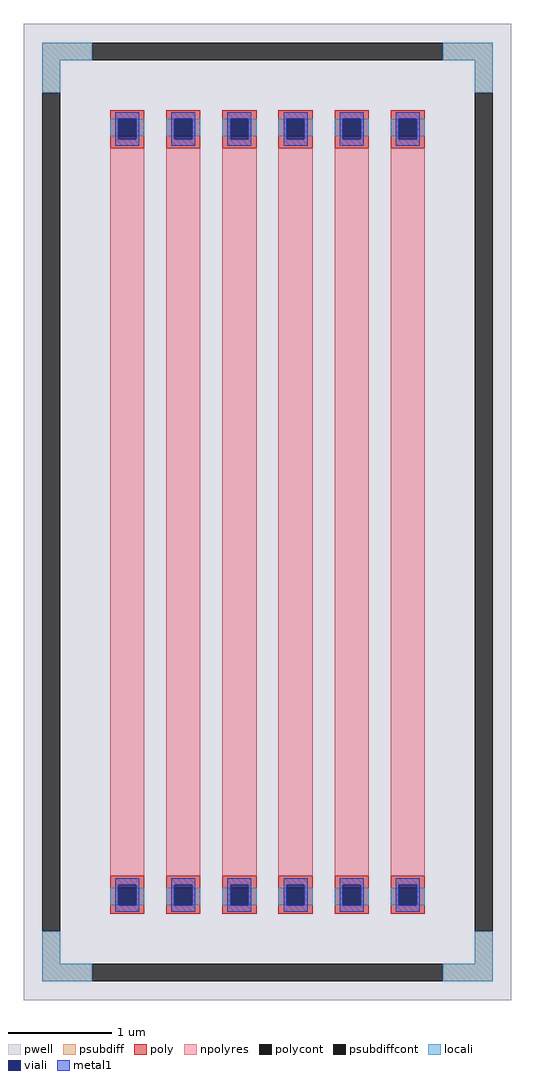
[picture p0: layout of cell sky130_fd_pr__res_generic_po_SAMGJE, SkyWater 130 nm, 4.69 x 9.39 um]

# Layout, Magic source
magic
tech sky130B
magscale 1 2
<< pwell >>
rect -469 -939 469 939
<< psubdiff >>
rect -433 869 -337 903
rect 337 869 433 903
rect -433 807 -399 869
rect 399 807 433 869
rect -433 -869 -399 -807
rect 399 -869 433 -807
rect -433 -903 -337 -869
rect 337 -903 433 -869
<< psubdiffcont >>
rect -337 869 337 903
rect -433 -807 -399 807
rect 399 -807 433 807
rect -337 -903 337 -869
<< poly >>
rect -303 757 -237 773
rect -303 723 -287 757
rect -253 723 -237 757
rect -303 700 -237 723
rect -303 -723 -237 -700
rect -303 -757 -287 -723
rect -253 -757 -237 -723
rect -303 -773 -237 -757
rect -195 757 -129 773
rect -195 723 -179 757
rect -145 723 -129 757
rect -195 700 -129 723
rect -195 -723 -129 -700
rect -195 -757 -179 -723
rect -145 -757 -129 -723
rect -195 -773 -129 -757
rect -87 757 -21 773
rect -87 723 -71 757
rect -37 723 -21 757
rect -87 700 -21 723
rect -87 -723 -21 -700
rect -87 -757 -71 -723
rect -37 -757 -21 -723
rect -87 -773 -21 -757
rect 21 757 87 773
rect 21 723 37 757
rect 71 723 87 757
rect 21 700 87 723
rect 21 -723 87 -700
rect 21 -757 37 -723
rect 71 -757 87 -723
rect 21 -773 87 -757
rect 129 757 195 773
rect 129 723 145 757
rect 179 723 195 757
rect 129 700 195 723
rect 129 -723 195 -700
rect 129 -757 145 -723
rect 179 -757 195 -723
rect 129 -773 195 -757
rect 237 757 303 773
rect 237 723 253 757
rect 287 723 303 757
rect 237 700 303 723
rect 237 -723 303 -700
rect 237 -757 253 -723
rect 287 -757 303 -723
rect 237 -773 303 -757
<< polycont >>
rect -287 723 -253 757
rect -287 -757 -253 -723
rect -179 723 -145 757
rect -179 -757 -145 -723
rect -71 723 -37 757
rect -71 -757 -37 -723
rect 37 723 71 757
rect 37 -757 71 -723
rect 145 723 179 757
rect 145 -757 179 -723
rect 253 723 287 757
rect 253 -757 287 -723
<< npolyres >>
rect -303 -700 -237 700
rect -195 -700 -129 700
rect -87 -700 -21 700
rect 21 -700 87 700
rect 129 -700 195 700
rect 237 -700 303 700
<< locali >>
rect -433 869 -337 903
rect 337 869 433 903
rect -433 807 -399 869
rect 399 807 433 869
rect -303 723 -287 757
rect -253 723 -237 757
rect -195 723 -179 757
rect -145 723 -129 757
rect -87 723 -71 757
rect -37 723 -21 757
rect 21 723 37 757
rect 71 723 87 757
rect 129 723 145 757
rect 179 723 195 757
rect 237 723 253 757
rect 287 723 303 757
rect -303 -757 -287 -723
rect -253 -757 -237 -723
rect -195 -757 -179 -723
rect -145 -757 -129 -723
rect -87 -757 -71 -723
rect -37 -757 -21 -723
rect 21 -757 37 -723
rect 71 -757 87 -723
rect 129 -757 145 -723
rect 179 -757 195 -723
rect 237 -757 253 -723
rect 287 -757 303 -723
rect -433 -869 -399 -807
rect 399 -869 433 -807
rect -433 -903 -337 -869
rect 337 -903 433 -869
<< viali >>
rect -287 723 -253 757
rect -179 723 -145 757
rect -71 723 -37 757
rect 37 723 71 757
rect 145 723 179 757
rect 253 723 287 757
rect -287 717 -253 723
rect -179 717 -145 723
rect -71 717 -37 723
rect 37 717 71 723
rect 145 717 179 723
rect 253 717 287 723
rect -287 -723 -253 -717
rect -179 -723 -145 -717
rect -71 -723 -37 -717
rect 37 -723 71 -717
rect 145 -723 179 -717
rect 253 -723 287 -717
rect -287 -757 -253 -723
rect -179 -757 -145 -723
rect -71 -757 -37 -723
rect 37 -757 71 -723
rect 145 -757 179 -723
rect 253 -757 287 -723
<< metal1 >>
rect -293 757 -247 769
rect -293 717 -287 757
rect -253 717 -247 757
rect -293 705 -247 717
rect -185 757 -139 769
rect -185 717 -179 757
rect -145 717 -139 757
rect -185 705 -139 717
rect -77 757 -31 769
rect -77 717 -71 757
rect -37 717 -31 757
rect -77 705 -31 717
rect 31 757 77 769
rect 31 717 37 757
rect 71 717 77 757
rect 31 705 77 717
rect 139 757 185 769
rect 139 717 145 757
rect 179 717 185 757
rect 139 705 185 717
rect 247 757 293 769
rect 247 717 253 757
rect 287 717 293 757
rect 247 705 293 717
rect -293 -717 -247 -705
rect -293 -757 -287 -717
rect -253 -757 -247 -717
rect -293 -769 -247 -757
rect -185 -717 -139 -705
rect -185 -757 -179 -717
rect -145 -757 -139 -717
rect -185 -769 -139 -757
rect -77 -717 -31 -705
rect -77 -757 -71 -717
rect -37 -757 -31 -717
rect -77 -769 -31 -757
rect 31 -717 77 -705
rect 31 -757 37 -717
rect 71 -757 77 -717
rect 31 -769 77 -757
rect 139 -717 185 -705
rect 139 -757 145 -717
rect 179 -757 185 -717
rect 139 -769 185 -757
rect 247 -717 293 -705
rect 247 -757 253 -717
rect 287 -757 293 -717
rect 247 -769 293 -757
<< properties >>
string FIXED_BBOX -416 -886 416 886
string gencell sky130_fd_pr__res_generic_po
string library sky130
string parameters w 0.330 l 7 m 1 nx 6 wmin 0.330 lmin 1.650 rho 48.2 val 1.022k dummy 0 dw 0.0 term 0.0 sterm 0.0 caplen 0.4 snake 0 guard 1 glc 1 grc 1 gtc 1 gbc 1 roverlap 0 endcov 100 full_metal 1 hv_guard 0 n_guard 0 vias 1 viagb 0 viagt 0 viagl 0 viagr 0
<< end >>
